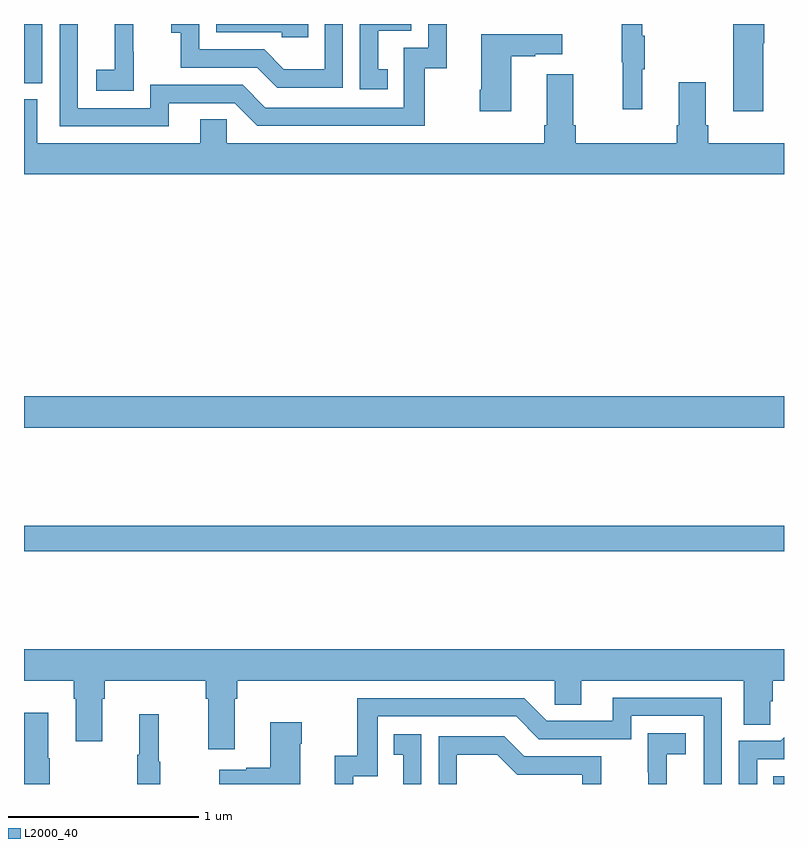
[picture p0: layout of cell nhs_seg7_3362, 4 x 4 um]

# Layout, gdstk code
import gdstk
lib = gdstk.Library(unit=1e-6, precision=1e-09)
def R(c, l, rs):  # rectangles x0, y0, x1, y1
    for r in rs: c.add(gdstk.rectangle(r[:2], r[2:], *l))
def P(c, l, *ps):  # polygons
    for p in ps: c.add(gdstk.Polygon(p, *l))
L2000_40 = (2000, 40)

nhs_seg7_3362 = lib.new_cell('nhs_seg7_3362')
R(nhs_seg7_3362, L2000_40, [(326.944,1072,327,1072.042), (323,1073.224,327,1073.36), (323,1073.876,327,1074.04)])
P(nhs_seg7_3362, L2000_40, [(323.577,1075.855),(323.576,1075.855),(323.576,1076),(323.478,1076),(323.478,1075.988),(323.477,1075.988),(323.477,1075.759),(323.379,1075.759),(323.379,1075.649),(323.577,1075.649)],
  [(326.255,1075.763),(326.266,1075.763),(326.266,1075.937),(326.255,1075.937),(326.255,1076),(326.145,1076),(326.145,1075.8),(326.152,1075.8),(326.152,1075.551),(326.255,1075.551)],
  [(324.914,1075.761),(324.865,1075.761),(324.865,1075.965),(325.038,1075.965),(325.038,1076),(324.768,1076),(324.768,1075.656),(324.914,1075.656)],
  [(323.761,1075.584),(324.108,1075.584),(324.228,1075.464),(325.108,1075.464),(325.108,1075.767),(325.226,1075.767),(325.226,1076),(325.128,1076),(325.128,1075.875),(324.999,1075.875),(324.999,1075.56),(324.27,1075.56),(324.15,1075.68),(323.664,1075.68),(323.664,1075.557),(323.283,1075.557),(323.283,1076),(323.187,1076),(323.187,1075.461),(323.761,1075.461)],
  [(323.097,1076),(323.001,1076),(323.001,1075.785),(323,1075.785),(323,1075.689),(323.097,1075.689)],
  [(326.891,1075.899),(326.896,1075.899),(326.896,1076),(326.732,1076),(326.732,1075.542),(326.891,1075.542)],
  [(324.497,1076),(324.012,1076),(324.012,1075.956),(324.357,1075.956),(324.357,1075.929),(324.497,1075.929)],
  [(324.678,1076),(324.582,1076),(324.582,1075.762),(324.368,1075.762),(324.264,1075.866),(323.922,1075.866),(323.922,1076),(323.775,1076),(323.775,1075.955),(323.824,1075.955),(323.824,1075.77),(324.227,1075.77),(324.332,1075.665),(324.678,1075.665)],
  [(325.564,1075.831),(325.691,1075.831),(325.691,1075.841),(325.834,1075.841),(325.834,1075.945),(325.406,1075.945),(325.406,1075.654),(325.399,1075.654),(325.399,1075.542),(325.564,1075.542)],
  [(327,1075.372),(326.6,1075.372),(326.6,1075.468),(326.587,1075.468),(326.587,1075.693),(326.447,1075.693),(326.447,1075.468),(326.435,1075.468),(326.435,1075.372),(325.904,1075.372),(325.904,1075.468),(325.891,1075.468),(325.891,1075.735),(325.751,1075.735),(325.751,1075.468),(325.739,1075.468),(325.739,1075.372),(324.066,1075.372),(324.066,1075.499),(323.927,1075.499),(323.927,1075.372),(323.071,1075.372),(323.071,1075.604),(323,1075.604),(323,1075.208),(327,1075.208)],
  [(324.109,1072.448),(324.122,1072.448),(324.122,1072.544),(325.794,1072.544),(325.794,1072.417),(325.933,1072.417),(325.933,1072.544),(326.789,1072.544),(326.789,1072.312),(326.928,1072.312),(326.928,1072.435),(326.942,1072.435),(326.942,1072.544),(327,1072.544),(327,1072.708),(323,1072.708),(323,1072.544),(323.261,1072.544),(323.261,1072.448),(323.273,1072.448),(323.273,1072.224),(323.413,1072.224),(323.413,1072.448),(323.426,1072.448),(323.426,1072.544),(323.957,1072.544),(323.957,1072.448),(323.969,1072.448),(323.969,1072.182),(324.109,1072.182)],
  [(324.732,1072.041),(324.861,1072.041),(324.861,1072.356),(325.59,1072.356),(325.71,1072.236),(326.196,1072.236),(326.196,1072.359),(326.577,1072.359),(326.577,1072),(326.673,1072),(326.673,1072.455),(326.099,1072.455),(326.099,1072.332),(325.752,1072.332),(325.632,1072.452),(324.753,1072.452),(324.753,1072.15),(324.635,1072.15),(324.635,1072),(324.732,1072)],
  [(323.136,1072.136),(323.128,1072.136),(323.128,1072.375),(323,1072.375),(323,1072),(323.136,1072)],
  [(323.716,1072.116),(323.708,1072.116),(323.708,1072.366),(323.606,1072.366),(323.606,1072.153),(323.595,1072.153),(323.595,1072),(323.716,1072)],
  [(324.454,1072.211),(324.462,1072.211),(324.462,1072.324),(324.296,1072.324),(324.296,1072.085),(324.17,1072.085),(324.17,1072.075),(324.027,1072.075),(324.027,1072),(324.454,1072)],
  [(326.384,1072.157),(326.482,1072.157),(326.482,1072.267),(326.284,1072.267),(326.284,1072.061),(326.285,1072.061),(326.285,1072),(326.384,1072)],
  [(325.092,1072.261),(324.946,1072.261),(324.946,1072.155),(324.995,1072.155),(324.995,1072),(325.092,1072)],
  [(325.278,1072.154),(325.492,1072.154),(325.596,1072.05),(325.938,1072.05),(325.938,1072),(326.037,1072),(326.037,1072.146),(325.633,1072.146),(325.528,1072.251),(325.182,1072.251),(325.182,1072),(325.278,1072)],
  [(326.859,1072.131),(327,1072.131),(327,1072.245),(326.982,1072.227),(326.763,1072.227),(326.763,1072),(326.859,1072)])

lib.write_gds('nhs_seg7_3362.gds')
